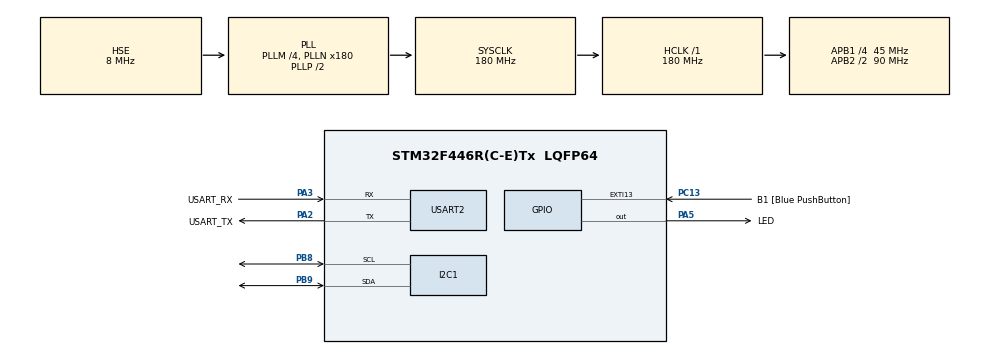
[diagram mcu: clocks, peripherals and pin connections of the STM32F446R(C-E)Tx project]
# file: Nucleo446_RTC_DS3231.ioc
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Mcu.Family=STM32F4
Mcu.Name=STM32F446R(C-E)Tx
Mcu.Package=LQFP64
NVIC.PriorityGroup=NVIC_PRIORITYGROUP_0
NVIC.TIM8_TRG_COM_TIM14_IRQn=true\:0\:0\:false\:false\:true\:true\:true\:true
PA13.GPIO_Label=TMS
PA13.Mode=Serial_Wire
PA13.Signal=SYS_JTMS-SWDIO
PA14.GPIO_Label=TCK
PA14.Mode=Serial_Wire
PA14.Signal=SYS_JTCK-SWCLK
PA2.GPIO_Label=USART_TX
PA2.Mode=Asynchronous
PA2.Signal=USART2_TX
PA3.GPIO_Label=USART_RX
PA3.Mode=Asynchronous
PA3.Signal=USART2_RX
PA5.GPIO_Label=LED
PA5.Signal=GPIO_Output
PB3.GPIO_Label=SWO
PB3.Signal=SYS_JTDO-SWO
PB8.Mode=I2C
PB8.Signal=I2C1_SCL
PB9.Mode=I2C
PB9.Signal=I2C1_SDA
PC13.GPIO_Label=B1 [Blue PushButton]
PC13.GPIO_ModeDefaultEXTI=GPIO_MODE_IT_FALLING
PC13.Signal=GPXTI13
PC14-OSC32_IN.Mode=LSE-External-Oscillator
PC14-OSC32_IN.Signal=RCC_OSC32_IN
PC15-OSC32_OUT.Mode=LSE-External-Oscillator
PC15-OSC32_OUT.Signal=RCC_OSC32_OUT
PH0-OSC_IN.Mode=HSE-External-Clock-Source
PH0-OSC_IN.Signal=RCC_OSC_IN
PH1-OSC_OUT.Mode=HSE-External-Clock-Source
PH1-OSC_OUT.Signal=RCC_OSC_OUT
ProjectManager.HeapSize=0x200
ProjectManager.StackSize=0x400
ProjectManager.TargetToolchain=STM32CubeIDE
RCC.48MHZClocksFreq_Value=84000000
RCC.AHBFreq_Value=180000000
RCC.APB1CLKDivider=RCC_HCLK_DIV4
RCC.APB1Freq_Value=45000000
RCC.APB1TimFreq_Value=90000000
RCC.APB2CLKDivider=RCC_HCLK_DIV2
RCC.APB2Freq_Value=90000000
RCC.APB2TimFreq_Value=180000000
RCC.CortexFreq_Value=180000000
RCC.FLatency-AdvancedSettings=FLASH_LATENCY_5
RCC.HCLKFreq_Value=180000000
RCC.HSE_VALUE=8000000
RCC.HSI_VALUE=16000000
RCC.PLLM=4
RCC.PLLN=180
RCC.PLLSourceVirtual=RCC_PLLSOURCE_HSE
RCC.SYSCLKFreq_VALUE=180000000
RCC.SYSCLKSource=RCC_SYSCLKSOURCE_PLLCLK
RCC.USBFreq_Value=180000000
RCC.VCOOutputFreq_Value=360000000
TIM14.Period=9000-1
TIM14.Prescaler=9000-1
USART2.VirtualMode=VM_ASYNC
VP_TIM14_VS_ClockSourceINT.Mode=Enable_Timer
board=NUCLEO-F446RE

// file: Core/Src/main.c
/* USER CODE BEGIN Header */
/**
  ******************************************************************************
  * @file           : main.c
  * @brief          : Main program body
  ******************************************************************************
  * @attention
  *
  * Copyright (c) 2024 STMicroelectronics.
  * All rights reserved.
  *
  * This software is licensed under terms that can be found in the LICENSE file
  * in the root directory of this software component.
  * If no LICENSE file comes with this software, it is provided AS-IS.
  *
  ******************************************************************************
  */
/* USER CODE END Header */
#include "main.h"

/* USER CODE BEGIN Includes */
#include "../../CustomDrivers/led.h"
#include "ds3231.h"
#include <stdio.h>
/* USER CODE END Includes */

/* USER CODE BEGIN PD */
#define LED_OFF			9000
#define LED_ON			1000

#define DS3231_I2C_DEV_ADDR 0x68
/* USER CODE END PD */

/* USER CODE BEGIN PM */
DS3231_I2C_DEVICE_DEFINE(clock_chip, "DS3231")
/* USER CODE END PM */

I2C_HandleTypeDef hi2c1;

TIM_HandleTypeDef htim14;

UART_HandleTypeDef huart2;

/* USER CODE BEGIN PV */
char *errorMsg = "Registers reading error!\r\n";
char msg[100] = {0};
/* USER CODE END PV */

void SystemClock_Config(void);
static void MX_GPIO_Init(void);
static void MX_USART2_UART_Init(void);
static void MX_I2C1_Init(void);
static void MX_TIM14_Init(void);
/* USER CODE BEGIN PFP */
static EMBEDD_RESULT ds3231_bus_write(const struct embedd_device_t* dev, const uint8_t* data_ptr, uint32_t data_size);
static EMBEDD_RESULT ds3231_bus_read(const struct embedd_device_t* dev, uint8_t* data_ptr, uint32_t data_size);
/* USER CODE END PFP */

/* USER CODE BEGIN 0 */
static embedd_bus_t ds3231_bus = {
    .write = ds3231_bus_write,
    .read = ds3231_bus_read
};
/* USER CODE END 0 */

int main(void)
{

  /* MCU Configuration--------------------------------------------------------*/

  /* Reset of all peripherals, Initializes the Flash interface and the Systick. */
  HAL_Init();

  /* Configure the system clock */
  SystemClock_Config();

  /* Initialize all configured peripherals */
  MX_GPIO_Init();
  MX_USART2_UART_Init();
  MX_I2C1_Init();
  MX_TIM14_Init();
  /* USER CODE BEGIN 2 */
  ledInit(&htim14);

  /* Assign the I2C bus object to the device object */
    clock_chip.bus = &ds3231_bus;

    /* Configure the I2C device settings for the DS3231 */
    embedd_i2c_dev_cfg_t clock_chip_cfg = {.addr = DS3231_I2C_DEV_ADDR};
    embedd_i2c_set_dev_config(&clock_chip, &clock_chip_cfg);clock_chip.bus = &ds3231_bus;
  /* USER CODE END 2 */

  /* Infinite loop */
  /* USER CODE BEGIN WHILE */
  while (1)
  {
	  uint8_t seconds_reg         = 0;
	  uint8_t minutes_reg         = 0;
	  uint8_t hour_reg            = 0;

	  // Read all registers
	  if (DS3231_READ_REG( clock_chip, ds3231_seconds,         seconds_reg )         == EMBEDD_RESULT_OK &&
		  DS3231_READ_REG( clock_chip, ds3231_minutes,         minutes_reg )         == EMBEDD_RESULT_OK &&
		  DS3231_READ_REG( clock_chip, ds3231_hour,            hour_reg )            == EMBEDD_RESULT_OK)
	  {
		  /* USER CODE BEGIN IN CASE OF SUCCESS */

		  sprintf(msg, "  h: %02d - m: %02d - s: %02d\r\n", hour_reg, minutes_reg, seconds_reg);
		  HAL_UART_Transmit(&huart2, (uint8_t*)msg, strlen(msg), 100);

		  /* USER CODE END IN CASE OF SUCCESS */
	  }
	  else
	  {
		  /* USER CODE BEGIN IN CASE OF ERROR */
		  HAL_UART_Transmit(&huart2, (uint8_t*)errorMsg, strlen(errorMsg), 100);
		  /* USER CODE END IN CASE OF ERROR */
	  }
	  HAL_Delay(5000); // Wait 5 seconds before reading again
    /* USER CODE END WHILE */

  }
}

void SystemClock_Config(void)
{
  RCC_OscInitTypeDef RCC_OscInitStruct = {0};
  RCC_ClkInitTypeDef RCC_ClkInitStruct = {0};

  /** Configure the main internal regulator output voltage
  */
  __HAL_RCC_PWR_CLK_ENABLE();
  __HAL_PWR_VOLTAGESCALING_CONFIG(PWR_REGULATOR_VOLTAGE_SCALE1);

  /** Initializes the RCC Oscillators according to the specified parameters
  * in the RCC_OscInitTypeDef structure.
  */
  RCC_OscInitStruct.OscillatorType = RCC_OSCILLATORTYPE_HSE;
  RCC_OscInitStruct.HSEState = RCC_HSE_BYPASS;
  RCC_OscInitStruct.PLL.PLLState = RCC_PLL_ON;
  RCC_OscInitStruct.PLL.PLLSource = RCC_PLLSOURCE_HSE;
  RCC_OscInitStruct.PLL.PLLM = 4;
  RCC_OscInitStruct.PLL.PLLN = 180;
  RCC_OscInitStruct.PLL.PLLP = RCC_PLLP_DIV2;
  RCC_OscInitStruct.PLL.PLLQ = 2;
  RCC_OscInitStruct.PLL.PLLR = 2;
  if (HAL_RCC_OscConfig(&RCC_OscInitStruct) != HAL_OK)
  {
    Error_Handler();
  }

  /** Activate the Over-Drive mode
  */
  if (HAL_PWREx_EnableOverDrive() != HAL_OK)
  {
    Error_Handler();
  }

  /** Initializes the CPU, AHB and APB buses clocks
  */
  RCC_ClkInitStruct.ClockType = RCC_CLOCKTYPE_HCLK|RCC_CLOCKTYPE_SYSCLK
                              |RCC_CLOCKTYPE_PCLK1|RCC_CLOCKTYPE_PCLK2;
  RCC_ClkInitStruct.SYSCLKSource = RCC_SYSCLKSOURCE_PLLCLK;
  RCC_ClkInitStruct.AHBCLKDivider = RCC_SYSCLK_DIV1;
  RCC_ClkInitStruct.APB1CLKDivider = RCC_HCLK_DIV4;
  RCC_ClkInitStruct.APB2CLKDivider = RCC_HCLK_DIV2;

  if (HAL_RCC_ClockConfig(&RCC_ClkInitStruct, FLASH_LATENCY_5) != HAL_OK)
  {
    Error_Handler();
  }
}

static void MX_I2C1_Init(void)
{

  hi2c1.Instance = I2C1;
  hi2c1.Init.ClockSpeed = 100000;
  hi2c1.Init.DutyCycle = I2C_DUTYCYCLE_2;
  hi2c1.Init.OwnAddress1 = 0;
  hi2c1.Init.AddressingMode = I2C_ADDRESSINGMODE_7BIT;
  hi2c1.Init.DualAddressMode = I2C_DUALADDRESS_DISABLE;
  hi2c1.Init.OwnAddress2 = 0;
  hi2c1.Init.GeneralCallMode = I2C_GENERALCALL_DISABLE;
  hi2c1.Init.NoStretchMode = I2C_NOSTRETCH_DISABLE;
  if (HAL_I2C_Init(&hi2c1) != HAL_OK)
  {
    Error_Handler();
  }

}

static void MX_TIM14_Init(void)
{

  htim14.Instance = TIM14;
  htim14.Init.Prescaler = 9000-1;
  htim14.Init.CounterMode = TIM_COUNTERMODE_UP;
  htim14.Init.Period = 9000-1;
  htim14.Init.ClockDivision = TIM_CLOCKDIVISION_DIV1;
  htim14.Init.AutoReloadPreload = TIM_AUTORELOAD_PRELOAD_DISABLE;
  if (HAL_TIM_Base_Init(&htim14) != HAL_OK)
  {
    Error_Handler();
  }

}

static void MX_USART2_UART_Init(void)
{

  huart2.Instance = USART2;
  huart2.Init.BaudRate = 115200;
  huart2.Init.WordLength = UART_WORDLENGTH_8B;
  huart2.Init.StopBits = UART_STOPBITS_1;
  huart2.Init.Parity = UART_PARITY_NONE;
  huart2.Init.Mode = UART_MODE_TX_RX;
  huart2.Init.HwFlowCtl = UART_HWCONTROL_NONE;
  huart2.Init.OverSampling = UART_OVERSAMPLING_16;
  if (HAL_UART_Init(&huart2) != HAL_OK)
  {
    Error_Handler();
  }

}

static void MX_GPIO_Init(void)
{
  GPIO_InitTypeDef GPIO_InitStruct = {0};

  /* GPIO Ports Clock Enable */
  __HAL_RCC_GPIOC_CLK_ENABLE();
  __HAL_RCC_GPIOH_CLK_ENABLE();
  __HAL_RCC_GPIOA_CLK_ENABLE();
  __HAL_RCC_GPIOB_CLK_ENABLE();

  /*Configure GPIO pin Output Level */
  HAL_GPIO_WritePin(LED_GPIO_Port, LED_Pin, GPIO_PIN_RESET);

  /*Configure GPIO pin : B1_Pin */
  GPIO_InitStruct.Pin = B1_Pin;
  GPIO_InitStruct.Mode = GPIO_MODE_IT_FALLING;
  GPIO_InitStruct.Pull = GPIO_NOPULL;
  HAL_GPIO_Init(B1_GPIO_Port, &GPIO_InitStruct);

  /*Configure GPIO pin : LED_Pin */
  GPIO_InitStruct.Pin = LED_Pin;
  GPIO_InitStruct.Mode = GPIO_MODE_OUTPUT_PP;
  GPIO_InitStruct.Pull = GPIO_NOPULL;
  GPIO_InitStruct.Speed = GPIO_SPEED_FREQ_LOW;
  HAL_GPIO_Init(LED_GPIO_Port, &GPIO_InitStruct);

}

/* USER CODE BEGIN 4 */
void HAL_TIM_PeriodElapsedCallback(TIM_HandleTypeDef *htim)
{
	if (htim->Instance == TIM14) {
		ledUpdate(LED_ON, LED_OFF);
	}
}

EMBEDD_RESULT ds3231_bus_write(const struct embedd_device_t* dev, const uint8_t* data_ptr, uint32_t data_size)
{
  if( ( dev == NULL ) || ( data_ptr == NULL ) )
  {
    return EMBEDD_RESULT_ERR;
  }

  //Extracting I2C configurations from the device object
  embedd_i2c_dev_cfg_t* dev_cfg = embedd_i2c_get_dev_config( dev );
  if( dev_cfg == NULL )
  {
      return EMBEDD_RESULT_ERR;
  }

  //Writing data to the bus
  HAL_StatusTypeDef status = HAL_I2C_Master_Transmit(&hi2c1, (dev_cfg->addr << 1), (uint8_t*)data_ptr, data_size, 100);
  if( status != HAL_OK)
  {
      return EMBEDD_RESULT_ERR;
  }

  return EMBEDD_RESULT_OK;
}

EMBEDD_RESULT ds3231_bus_read(const struct embedd_device_t* dev, uint8_t* data_ptr, uint32_t data_size)
{
  if( ( dev == NULL ) || ( data_ptr == NULL ) )
  {
      return EMBEDD_RESULT_ERR;
  }

  //Extracting I2C configurations from the device object
  embedd_i2c_dev_cfg_t* dev_cfg = embedd_i2c_get_dev_config( dev );
  if( dev_cfg == NULL ){
      return EMBEDD_RESULT_ERR;
  }

  //Reading data from the bus
  HAL_StatusTypeDef status = HAL_I2C_Master_Receive(&hi2c1, (dev_cfg->addr << 1), data_ptr, data_size, 100);
  if( status != HAL_OK)
  {
      return EMBEDD_RESULT_ERR;
  }

  return EMBEDD_RESULT_OK;
}

void embedd_hal_sleep( uint32_t mseconds )
{
    HAL_Delay(mseconds);
}
/* USER CODE END 4 */

void Error_Handler(void)
{
  __disable_irq();
  while (1)
  {
  }
}
